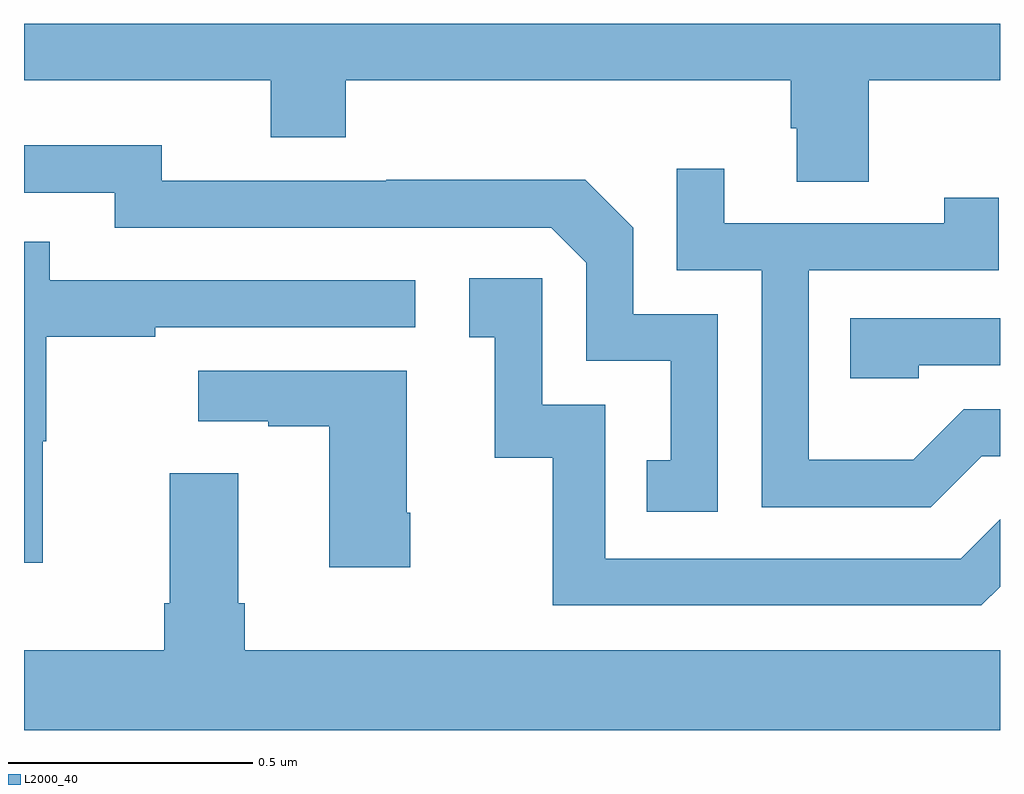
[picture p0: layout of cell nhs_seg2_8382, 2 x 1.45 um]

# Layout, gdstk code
import gdstk
lib = gdstk.Library(unit=1e-6, precision=1e-09)
def P(c, l, *ps):  # polygons
    for p in ps: c.add(gdstk.Polygon(p, *l))
L2000_40 = (2000, 40)

nhs_seg2_8382 = lib.new_cell('nhs_seg2_8382')
P(nhs_seg2_8382, L2000_40, [(217.731,599.684),(218,599.684),(218,599.8),(216,599.8),(216,599.684),(216.506,599.684),(216.506,599.567),(216.659,599.567),(216.659,599.684),(217.571,599.684),(217.571,599.586),(217.583,599.586),(217.583,599.476),(217.731,599.476)],
  [(217.422,599.205),(217.248,599.205),(217.248,599.382),(217.15,599.48),(216.742,599.48),(216.742,599.478),(216.282,599.478),(216.282,599.551),(216,599.551),(216,599.454),(216.186,599.454),(216.186,599.382),(217.08,599.382),(217.152,599.31),(217.152,599.109),(217.325,599.109),(217.325,598.905),(217.276,598.905),(217.276,598.8),(217.422,598.8)],
  [(217.963,598.914),(218,598.914),(218,599.01),(217.926,599.01),(217.822,598.906),(217.608,598.906),(217.608,599.295),(217.997,599.295),(217.997,599.443),(217.886,599.443),(217.886,599.391),(217.435,599.391),(217.435,599.503),(217.338,599.503),(217.338,599.295),(217.512,599.295),(217.512,598.809),(217.858,598.809)],
  [(216.038,598.944),(216.046,598.944),(216.046,599.158),(216.269,599.158),(216.269,599.178),(216.802,599.178),(216.802,599.274),(216.053,599.274),(216.053,599.353),(216,599.353),(216,598.695),(216.038,598.695)],
  [(218,598.646),(218,598.784),(217.92,598.704),(217.191,598.704),(217.191,599.019),(217.062,599.019),(217.062,599.278),(216.912,599.278),(216.912,599.157),(216.965,599.157),(216.965,598.911),(217.083,598.911),(217.083,598.608),(217.962,598.608)],
  [(217.833,599.1),(218,599.1),(218,599.196),(217.693,599.196),(217.693,599.073),(217.833,599.073)],
  [(216.792,598.798),(216.784,598.798),(216.784,599.089),(216.357,599.089),(216.357,598.985),(216.5,598.985),(216.5,598.975),(216.626,598.975),(216.626,598.686),(216.792,598.686)],
  [(218,598.516),(216.452,598.516),(216.452,598.612),(216.439,598.612),(216.439,598.879),(216.299,598.879),(216.299,598.612),(216.287,598.612),(216.287,598.516),(216,598.516),(216,598.352),(218,598.352)])

lib.write_gds('nhs_seg2_8382.gds')
